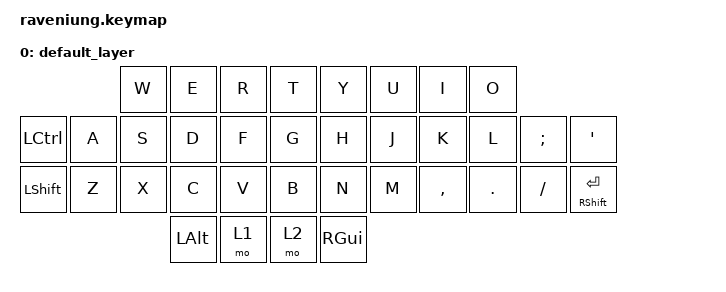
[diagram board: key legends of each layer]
/*
 * Copyright (c) 2020 The ZMK Contributors
 *
 * SPDX-License-Identifier: MIT
 */

#include <behaviors.dtsi>
#include <dt-bindings/zmk/keys.h>
#include <dt-bindings/zmk/bt.h>
#include <dt-bindings/zmk/rgb.h>

/ {
        keymap {
                compatible = "zmk,keymap";

                default_layer {
// -------------------------------------------------------------------------------------
// |  TAB |  Q  |  W  |  E  |  R  |  T  |   |  Y  |  U   |  I  |  O  |  P  |   BSPC    |
// | CTRL |  A  |  S  |  D  |  F  |  G  |   |  H  |  J   |  K  |  L  |  ;  |    '      |
// | SHFT |  Z  |  X  |  C  |  V  |  B  |   |  N  |  M   |  ,  |  .  |  /  | SHFT(RET) |
//                         | ALT | LWR | SPC | RSE  | ALT |
                        bindings = <
                   &kp W &kp E &kp R &kp T   &kp Y &kp U  &kp I     &kp O
   &kp LCTRL &kp A &kp S &kp D &kp F &kp G   &kp H &kp J  &kp K     &kp L   &kp SEMI &kp SQT
   &kp LSHFT &kp Z &kp X &kp C &kp V &kp B   &kp N &kp M  &kp COMMA &kp DOT &kp FSLH &mt RSHFT RET
                        &kp LALT  &mo 1 &mo 2  &kp RGUI
                        >;
                };

        };
};
